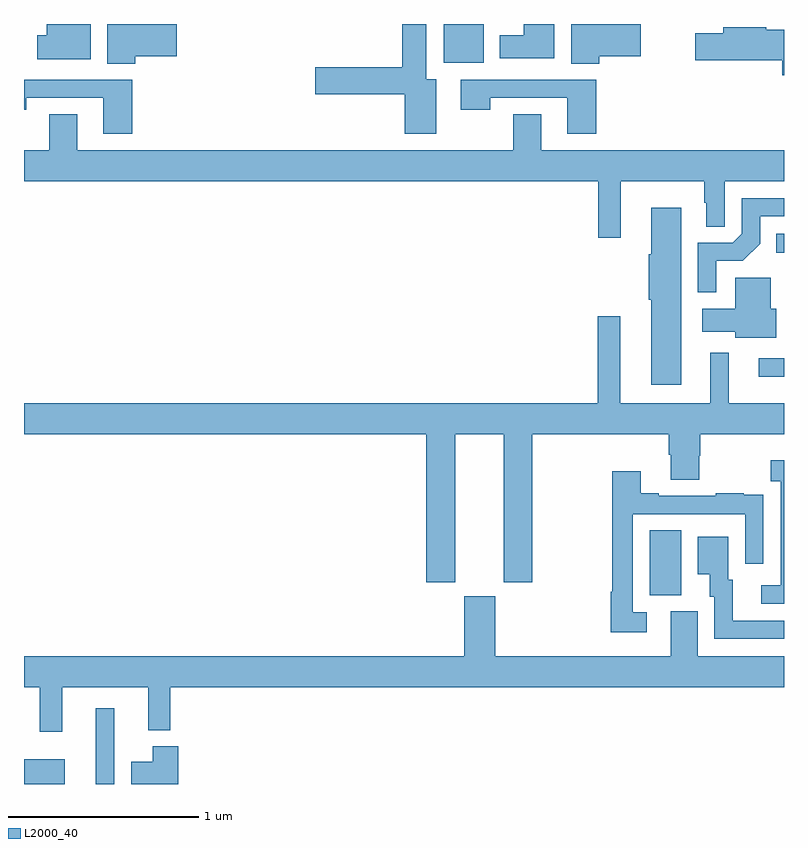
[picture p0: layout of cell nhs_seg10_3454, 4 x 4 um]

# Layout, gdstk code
import gdstk
lib = gdstk.Library(unit=1e-6, precision=1e-09)
def R(c, l, rs):  # rectangles x0, y0, x1, y1
    for r in rs: c.add(gdstk.rectangle(r[:2], r[2:], *l))
def P(c, l, *ps):  # polygons
    for p in ps: c.add(gdstk.Polygon(p, *l))
L2000_40 = (2000, 40)

nhs_seg10_3454 = lib.new_cell('nhs_seg10_3454')
R(nhs_seg10_3454, L2000_40, [(299,1274.5,299.215,1274.629), (299.378,1274.5,299.475,1274.899), (302.294,1275.493,302.458,1275.836), (302.868,1276.643,303,1276.74), (302.959,1277.296,303,1277.397), (301.208,1278.296,301.42,1278.5)])
P(nhs_seg10_3454, L2000_40, [(302.027,1278.329),(302.245,1278.329),(302.245,1278.5),(301.88,1278.5),(301.88,1278.292),(302.027,1278.292)],
  [(299.35,1278.5),(299.12,1278.5),(299.12,1278.442),(299.069,1278.442),(299.069,1278.314),(299.35,1278.314)],
  [(301.792,1278.5),(301.631,1278.5),(301.631,1278.442),(301.505,1278.442),(301.505,1278.32),(301.792,1278.32)],
  [(299.585,1278.329),(299.803,1278.329),(299.803,1278.5),(299.438,1278.5),(299.438,1278.292),(299.585,1278.292)],
  [(301.171,1278.208),(301.117,1278.208),(301.117,1278.5),(300.992,1278.5),(300.992,1278.272),(300.534,1278.272),(300.534,1278.13),(301.004,1278.13),(301.004,1277.922),(301.171,1277.922)],
  [(303,1278.469),(302.906,1278.469),(302.906,1278.482),(302.681,1278.482),(302.681,1278.452),(302.532,1278.452),(302.532,1278.31),(302.99,1278.31),(302.99,1278.23),(303,1278.23)],
  [(302.012,1278.207),(301.299,1278.207),(301.299,1278.048),(301.455,1278.048),(301.455,1278.111),(301.859,1278.111),(301.859,1277.922),(302.012,1277.922)],
  [(299.57,1278.207),(299,1278.207),(299,1278.048),(299.013,1278.048),(299.013,1278.111),(299.417,1278.111),(299.417,1277.922),(299.57,1277.922)],
  [(302.14,1277.672),(302.58,1277.672),(302.58,1277.559),(302.591,1277.559),(302.591,1277.434),(302.688,1277.434),(302.688,1277.672),(303,1277.672),(303,1277.836),(301.723,1277.836),(301.723,1278.026),(301.576,1278.026),(301.576,1277.836),(299.281,1277.836),(299.281,1278.026),(299.134,1278.026),(299.134,1277.836),(299,1277.836),(299,1277.672),(302.023,1277.672),(302.023,1277.376),(302.14,1277.376)],
  [(302.643,1277.253),(302.784,1277.253),(302.874,1277.343),(302.874,1277.487),(303,1277.487),(303,1277.583),(302.778,1277.583),(302.778,1277.397),(302.73,1277.349),(302.547,1277.349),(302.547,1277.087),(302.643,1277.087)],
  [(302.458,1277.533),(302.3,1277.533),(302.3,1277.288),(302.288,1277.288),(302.288,1277.05),(302.3,1277.05),(302.3,1276.602),(302.458,1276.602)],
  [(302.959,1277.002),(302.929,1277.002),(302.929,1277.164),(302.744,1277.164),(302.744,1277.002),(302.571,1277.002),(302.571,1276.88),(302.744,1276.88),(302.744,1276.85),(302.959,1276.85)],
  [(302.393,1276.234),(302.405,1276.234),(302.405,1276.102),(302.553,1276.102),(302.553,1276.227),(302.558,1276.227),(302.558,1276.34),(303,1276.34),(303,1276.504),(302.71,1276.504),(302.71,1276.771),(302.612,1276.771),(302.612,1276.504),(302.137,1276.504),(302.137,1276.963),(302.02,1276.963),(302.02,1276.504),(299,1276.504),(299,1276.34),(301.118,1276.34),(301.118,1275.561),(301.27,1275.561),(301.27,1276.34),(301.526,1276.34),(301.526,1275.561),(301.674,1275.561),(301.674,1276.34),(302.393,1276.34)],
  [(303,1276.204),(302.931,1276.204),(302.931,1276.094),(302.982,1276.094),(302.982,1275.546),(302.88,1275.546),(302.88,1275.45),(303,1275.45)],
  [(302.278,1275.405),(302.205,1275.405),(302.205,1275.921),(302.796,1275.921),(302.796,1275.66),(302.892,1275.66),(302.892,1275.914),(302.891,1275.914),(302.891,1276.023),(302.789,1276.023),(302.789,1276.03),(302.641,1276.03),(302.641,1276.017),(302.341,1276.017),(302.341,1276.03),(302.245,1276.03),(302.245,1276.147),(302.097,1276.147),(302.097,1275.512),(302.089,1275.512),(302.089,1275.3),(302.278,1275.3)],
  [(303,1275.36),(302.731,1275.36),(302.731,1275.576),(302.707,1275.576),(302.707,1275.802),(302.546,1275.802),(302.546,1275.605),(302.609,1275.605),(302.609,1275.486),(302.634,1275.486),(302.634,1275.264),(303,1275.264)],
  [(299.201,1275.008),(299.654,1275.008),(299.654,1274.783),(299.771,1274.783),(299.771,1275.008),(303,1275.008),(303,1275.172),(302.545,1275.172),(302.545,1275.408),(302.405,1275.408),(302.405,1275.172),(301.48,1275.172),(301.48,1275.489),(301.316,1275.489),(301.316,1275.172),(299,1275.172),(299,1275.008),(299.083,1275.008),(299.083,1274.775),(299.201,1274.775)],
  [(299.813,1274.698),(299.678,1274.698),(299.678,1274.617),(299.564,1274.617),(299.564,1274.5),(299.813,1274.5)])

lib.write_gds('nhs_seg10_3454.gds')
